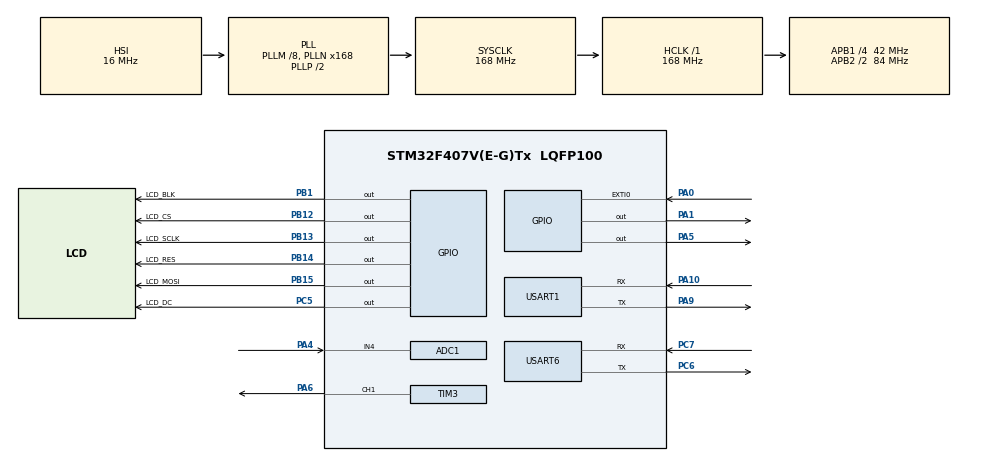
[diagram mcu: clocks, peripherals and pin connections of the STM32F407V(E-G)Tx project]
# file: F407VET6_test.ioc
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ADC1.Channel-0\#ChannelRegularConversion=ADC_CHANNEL_4
ADC1.NbrOfConversionFlag=1
ADC1.Rank-0\#ChannelRegularConversion=1
ADC1.SamplingTime-0\#ChannelRegularConversion=ADC_SAMPLETIME_3CYCLES
ADC1.master=1
Mcu.Family=STM32F4
Mcu.Name=STM32F407V(E-G)Tx
Mcu.Package=LQFP100
NVIC.ADC_IRQn=true\:0\:0\:false\:false\:true\:true\:true\:true
NVIC.EXTI0_IRQn=true\:1\:0\:true\:false\:true\:true\:true\:true
NVIC.PriorityGroup=NVIC_PRIORITYGROUP_4
NVIC.TIM6_DAC_IRQn=true\:0\:0\:false\:false\:true\:true\:true\:true
NVIC.TIM7_IRQn=true\:0\:0\:false\:false\:true\:true\:true\:true
NVIC.USART1_IRQn=true\:0\:0\:false\:false\:true\:true\:true\:true
PA0-WKUP.GPIO_ModeDefaultEXTI=GPIO_MODE_IT_RISING
PA0-WKUP.GPIO_PuPd=GPIO_PULLDOWN
PA0-WKUP.Signal=GPXTI0
PA1.Signal=GPIO_Output
PA10.Mode=Asynchronous
PA10.Signal=USART1_RX
PA13.Mode=Serial_Wire
PA13.Signal=SYS_JTMS-SWDIO
PA14.Mode=Serial_Wire
PA14.Signal=SYS_JTCK-SWCLK
PA4.Signal=ADCx_IN4
PA5.GPIO_PuPd=GPIO_PULLUP
PA5.Signal=GPIO_Output
PA6.Signal=S_TIM3_CH1
PA9.Mode=Asynchronous
PA9.Signal=USART1_TX
PB1.GPIO_Label=LCD_BLK
PB1.Signal=GPIO_Output
PB12.GPIO_Label=LCD_CS
PB12.Signal=GPIO_Output
PB13.GPIO_Label=LCD_SCLK
PB13.Signal=GPIO_Output
PB14.GPIO_Label=LCD_RES
PB14.Signal=GPIO_Output
PB15.GPIO_Label=LCD_MOSI
PB15.Signal=GPIO_Output
PC14-OSC32_IN.Mode=LSE-External-Clock-Source
PC14-OSC32_IN.Signal=RCC_OSC32_IN
PC15-OSC32_OUT.Mode=LSE-External-Clock-Source
PC15-OSC32_OUT.Signal=RCC_OSC32_OUT
PC5.GPIO_Label=LCD_DC
PC5.Signal=GPIO_Output
PC6.Mode=Asynchronous
PC6.Signal=USART6_TX
PC7.Mode=Asynchronous
PC7.Signal=USART6_RX
PH0-OSC_IN.Mode=HSE-External-Clock-Source
PH0-OSC_IN.Signal=RCC_OSC_IN
PH1-OSC_OUT.Mode=HSE-External-Clock-Source
PH1-OSC_OUT.Signal=RCC_OSC_OUT
ProjectManager.HeapSize=0x200
ProjectManager.StackSize=0x400
ProjectManager.TargetToolchain=STM32CubeIDE
RCC.48MHZClocksFreq_Value=84000000
RCC.AHBFreq_Value=168000000
RCC.APB1CLKDivider=RCC_HCLK_DIV4
RCC.APB1Freq_Value=42000000
RCC.APB1TimFreq_Value=84000000
RCC.APB2CLKDivider=RCC_HCLK_DIV2
RCC.APB2Freq_Value=84000000
RCC.APB2TimFreq_Value=168000000
RCC.CortexFreq_Value=168000000
RCC.HCLKFreq_Value=168000000
RCC.HSE_VALUE=8000000
RCC.HSI_VALUE=16000000
RCC.LSE_VALUE=32768
RCC.PLLM=8
RCC.PLLN=168
RCC.SYSCLKFreq_VALUE=168000000
RCC.SYSCLKSource=RCC_SYSCLKSOURCE_PLLCLK
RCC.VCOOutputFreq_Value=336000000
SH.ADCx_IN4.0=ADC1_IN4,IN4
SH.S_TIM3_CH1.0=TIM3_CH1,PWM Generation1 CH1
TIM3.Channel-PWM\ Generation1\ CH1=TIM_CHANNEL_1
TIM3.Period=999
TIM3.Prescaler=167
TIM6.Period=4999
TIM6.Prescaler=16799
TIM7.Period=2499
TIM7.Prescaler=16799
USART1.VirtualMode=VM_ASYNC
USART6.VirtualMode=VM_ASYNC
VP_TIM6_VS_ClockSourceINT.Mode=Enable_Timer
VP_TIM7_VS_ClockSourceINT.Mode=Enable_Timer
board=custom

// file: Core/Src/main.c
/* USER CODE BEGIN Header */
/**
  ******************************************************************************
  * @file           : main.c
  * @brief          : Main program body
  ******************************************************************************
  * @attention
  *
  * Copyright (c) 2023 STMicroelectronics.
  * All rights reserved.
  *
  * This software is licensed under terms that can be found in the LICENSE file
  * in the root directory of this software component.
  * If no LICENSE file comes with this software, it is provided AS-IS.
  *
  ******************************************************************************
  */
/* USER CODE END Header */
#include "main.h"
#include "adc.h"
#include "tim.h"
#include "usart.h"
#include "gpio.h"

/* USER CODE BEGIN Includes */
#include "lcd_init.h"
#include "lcd.h"
#include "stdio.h"
/* USER CODE END Includes */

/* USER CODE BEGIN PTD */
unsigned int screen_num = 0;
unsigned int key_change_flag = 1;
unsigned int recive_flag = 0;
unsigned int pwm_lcd_flag = 0;
unsigned int pwm_freq = 0;
unsigned int pwm_duty = 0;
unsigned int student = 2021900372;
unsigned int engine_temp = 0;
unsigned int Alarm_flag =0;
uint16_t ADC_Value = 0;
uint8_t str[50] = {0};
float num2 = 12.13;
uint8_t  rx_dat1 = 0;
/* USER CODE END PTD */

/* USER CODE BEGIN PD */
void draw_lcd0(void);
void draw_lcd1(void);
void pwm_solve(void);
void adc_solve(void);
/* USER CODE END PD */

/* USER CODE BEGIN PM */
void draw_lcd0()
{
	if(screen_num == 0 && key_change_flag==1)
		{
	   LCD_Fill(0,0,128,160,WHITE);
		sprintf((char*)str,"USER INIRFACE:%d",1);
		LCD_ShowString(20,3,str,BLACK,WHITE,12,0);
		sprintf((char*)str,"level:%d",0);
		LCD_ShowString(3,15,str,BLACK,WHITE,12,0);
		sprintf((char*)str,"PWM freq:%dKhz",pwm_freq);
		LCD_ShowString(3,27,str,BLACK,WHITE,12,0);
		sprintf((char*)str,"PWM duty:%d%%",pwm_duty);
		LCD_ShowString(3,39,str,BLACK,WHITE,12,0);
		sprintf((char*)str,"num:%d",student);
		LCD_ShowString(3,51,str,BLACK,WHITE,12,0);
		LCD_ShowChinese(64,115,2,RED,GREEN,16);
		LCD_ShowChinese(80,115,3,RED,GREEN,16);
		LCD_ShowChinese(96,115,4,RED,GREEN,16);
		LCD_ShowChinese(112,115,5,RED,GREEN,16);
		key_change_flag=0;
		}
}

void draw_lcd1()
{
	if(screen_num == 1 && key_change_flag==1)
		{
		LCD_Fill(0,0,128,160,WHITE);
		sprintf((char*)str,"USER INIRFACE: %d",2);
		LCD_ShowString(20,3,str,BLACK,WHITE,12,0);
		sprintf((char*)str,"Engine temp: %d",engine_temp);
		LCD_ShowString(3,15,str,BLACK,WHITE,12,0);
		sprintf((char*)str,"Alarm threshold: %d",100);
		LCD_ShowString(3,27,str,BLACK,WHITE,12,0);
		sprintf((char*)str,"Alarm flag: NO");
		LCD_ShowString(3,39,str,BLACK,WHITE,12,0);
		sprintf((char*)str,"num:%d",student);
		LCD_ShowString(3,51,str,BLACK,WHITE,12,0);
		LCD_ShowChinese(64,115,2,RED,GREEN,16);
		LCD_ShowChinese(80,115,3,RED,GREEN,16);
		LCD_ShowChinese(96,115,4,RED,GREEN,16);
		LCD_ShowChinese(112,115,5,RED,GREEN,16);
		key_change_flag=0;
		}
}

void pwm_solve()
{
	if(rx_dat1 == 48 && recive_flag == 1)   //0
	{
		recive_flag=0;
		pwm_lcd_flag=1;
		pwm_freq = 0;
		pwm_duty = 0;
		__HAL_TIM_SET_AUTORELOAD(&htim3,499);
		__HAL_TIM_SET_COMPARE(&htim3,TIM_CHANNEL_1,0);
	}
	if(rx_dat1 == 49 && recive_flag == 1)   //1
	{
		recive_flag=0;
		pwm_lcd_flag=1;
		pwm_freq = 1;
		pwm_duty = 20;
		__HAL_TIM_SET_AUTORELOAD(&htim3,499);		 //1kHz
		__HAL_TIM_SET_COMPARE(&htim3,TIM_CHANNEL_1,99);		//20%
	}
	if(rx_dat1 == 50 && recive_flag == 1)   //2
	{
		recive_flag=0;
		pwm_lcd_flag=1;
		pwm_freq = 2;
		pwm_duty = 40;
		__HAL_TIM_SET_AUTORELOAD(&htim3,249);		 //2kHz
		__HAL_TIM_SET_COMPARE(&htim3,TIM_CHANNEL_1,99);		//40%
	}
	if(rx_dat1 == 51 && recive_flag == 1)   //3
	{
		recive_flag=0;
		pwm_lcd_flag=1;
		pwm_freq = 5;
		pwm_duty = 50;
		__HAL_TIM_SET_AUTORELOAD(&htim3,99);     //5kHz
		__HAL_TIM_SET_COMPARE(&htim3,TIM_CHANNEL_1,49);		//50%
	}
	if(rx_dat1 == 52 && recive_flag == 1)   //4
	{
		recive_flag=0;
		pwm_lcd_flag=1;
		pwm_freq = 10;
		pwm_duty = 80;
		__HAL_TIM_SET_AUTORELOAD(&htim3,49);     //10kHz
		__HAL_TIM_SET_COMPARE(&htim3,TIM_CHANNEL_1,39);		//80%
	}
	if(rx_dat1 == 53 && recive_flag == 1)   //5
	{
		recive_flag=0;
		pwm_lcd_flag=1;
		pwm_freq = 50;
		pwm_duty = 90;
		__HAL_TIM_SET_AUTORELOAD(&htim3,9);	 		 //50kHz
		__HAL_TIM_SET_COMPARE(&htim3,TIM_CHANNEL_1,9);		//90%
	}

		if (screen_num == 0 && pwm_lcd_flag == 1)
	{
		pwm_lcd_flag = 0;
		sprintf((char*)str,"level:%c       ",rx_dat1);
		LCD_ShowString(3, 15, str, BLACK, WHITE, 12, 0);
		sprintf((char*)str,"PWM freq:%dKHz    ",pwm_freq);
		LCD_ShowString(3,27,str,BLACK,WHITE,12,0);
		sprintf((char*)str,"PWM duty:%d%%     ",pwm_duty);
		LCD_ShowString(3,39,str,BLACK,WHITE,12,0);
	}
}

void adc_solve()
{
	HAL_ADC_Start(&hadc1);
	if(HAL_ADC_PollForConversion(&hadc1,10) == HAL_OK)
	{
		ADC_Value = HAL_ADC_GetValue(&hadc1);
		engine_temp =  (ADC_Value*140/4095)+20;

			if(engine_temp>100)
			{
				Alarm_flag =1;
				if(screen_num == 1)
				{
					sprintf((char*)str,"Engine temp:%d ",engine_temp);
					LCD_ShowString(3,15,str,BLACK,WHITE,12,0);
					sprintf((char*)str,"Alarm flag:YES");
					LCD_ShowString(3,39,str,BLACK,WHITE,12,0);
				}
			}
			if(engine_temp <= 100)
			{
				Alarm_flag =0;
				if(screen_num == 1)
				{
					sprintf((char*)str,"Engine temp:%d ",engine_temp);
					LCD_ShowString(3,15,str,BLACK,WHITE,12,0);
					sprintf((char*)str,"Alarm flag:NO ");
					LCD_ShowString(3,39,str,BLACK,WHITE,12,0);
				}
			}

	}
	HAL_ADC_Stop(&hadc1);
}

/* USER CODE END PM */

void SystemClock_Config(void);

/* USER CODE BEGIN 0 */
void HAL_ADC_ConvCpltCallback(ADC_HandleTypeDef *hadc)
{
	if(hadc->Instance == ADC1)
	{
	ADC_Value = HAL_ADC_GetValue(&hadc1);
	sprintf((char*)str,"Value: %d",ADC_Value);
	printf("%s\r\n",str);
	HAL_UART_Transmit(&huart1,str,sizeof(str),1000);
	}
}

void HAL_GPIO_EXTI_Callback(uint16_t GPIO_Pin)
{
	if(GPIO_Pin == GPIO_PIN_0)
	{
			screen_num=screen_num+1;
			key_change_flag = 1;
		  if(screen_num == 2)
        {
            screen_num=0;
        }
	}
}
void HAL_UART_RxCpltCallback(UART_HandleTypeDef *huart)
{
	if(huart->Instance == USART1)
	{
		recive_flag=1;
		HAL_UART_Receive_IT(&huart1,&rx_dat1,1);
	}

}
void HAL_TIM_PeriodElapsedCallback(TIM_HandleTypeDef *htim)
{
	if(htim->Instance == TIM6)
	{
		if(engine_temp >= 100)
		{
			HAL_GPIO_WritePin(GPIOA,GPIO_PIN_5,GPIO_PIN_RESET);
			printf("[%d]PWMFREQUENCE:%dKHz,duty:%d%%,Engine TEMP=%d,Alarm flag=yes\r\n",student,pwm_freq,pwm_duty,engine_temp);
		}
		if(engine_temp < 100)
		{
			HAL_GPIO_WritePin(GPIOA,GPIO_PIN_5,GPIO_PIN_SET);
			HAL_GPIO_WritePin(GPIOA,GPIO_PIN_1,GPIO_PIN_SET);
			printf("[%d]PWMFREQUENCE:%dKHz,duty:%d%%,Engine TEMP=%d,Alarm flag=no\r\n",student,pwm_freq,pwm_duty,engine_temp);
		}
	}
		if(htim->Instance == TIM7)
		{
			if(engine_temp >= 100)
			{
				HAL_GPIO_TogglePin(GPIOA,GPIO_PIN_1);
			}
		}
}

/* USER CODE END 0 */

int main(void)
{

  /* MCU Configuration--------------------------------------------------------*/

  /* Reset of all peripherals, Initializes the Flash interface and the Systick. */
  HAL_Init();

  /* Configure the system clock */
  SystemClock_Config();

  /* Initialize all configured peripherals */
  MX_GPIO_Init();
  MX_USART1_UART_Init();
  MX_ADC1_Init();
  MX_USART6_UART_Init();
  MX_TIM6_Init();
  MX_TIM3_Init();
  MX_TIM7_Init();
  /* USER CODE BEGIN 2 */
	LCD_Init();
	HAL_TIM_Base_Start_IT(&htim6);
	HAL_TIM_Base_Start_IT(&htim7);
	HAL_UART_Receive_IT(&huart1,&rx_dat1,1);
	HAL_TIM_PWM_Start(&htim3,TIM_CHANNEL_1);
	HAL_GPIO_WritePin(GPIOA,GPIO_PIN_5,GPIO_PIN_SET);
  /* USER CODE END 2 */

  /* Infinite loop */

  while (1)
  {

    /* USER CODE BEGIN 3 */
		draw_lcd0();
		draw_lcd1();
		pwm_solve();
		adc_solve();
  }
  /* USER CODE END 3 */
}

void SystemClock_Config(void)
{
  RCC_OscInitTypeDef RCC_OscInitStruct = {0};
  RCC_ClkInitTypeDef RCC_ClkInitStruct = {0};

  /** Configure the main internal regulator output voltage
  */
  __HAL_RCC_PWR_CLK_ENABLE();
  __HAL_PWR_VOLTAGESCALING_CONFIG(PWR_REGULATOR_VOLTAGE_SCALE1);

  /** Initializes the RCC Oscillators according to the specified parameters
  * in the RCC_OscInitTypeDef structure.
  */
  RCC_OscInitStruct.OscillatorType = RCC_OSCILLATORTYPE_HSI;
  RCC_OscInitStruct.HSIState = RCC_HSI_ON;
  RCC_OscInitStruct.HSICalibrationValue = RCC_HSICALIBRATION_DEFAULT;
  RCC_OscInitStruct.PLL.PLLState = RCC_PLL_ON;
  RCC_OscInitStruct.PLL.PLLSource = RCC_PLLSOURCE_HSI;
  RCC_OscInitStruct.PLL.PLLM = 8;
  RCC_OscInitStruct.PLL.PLLN = 168;
  RCC_OscInitStruct.PLL.PLLP = RCC_PLLP_DIV2;
  RCC_OscInitStruct.PLL.PLLQ = 4;
  if (HAL_RCC_OscConfig(&RCC_OscInitStruct) != HAL_OK)
  {
    Error_Handler();
  }

  /** Initializes the CPU, AHB and APB buses clocks
  */
  RCC_ClkInitStruct.ClockType = RCC_CLOCKTYPE_HCLK|RCC_CLOCKTYPE_SYSCLK
                              |RCC_CLOCKTYPE_PCLK1|RCC_CLOCKTYPE_PCLK2;
  RCC_ClkInitStruct.SYSCLKSource = RCC_SYSCLKSOURCE_PLLCLK;
  RCC_ClkInitStruct.AHBCLKDivider = RCC_SYSCLK_DIV1;
  RCC_ClkInitStruct.APB1CLKDivider = RCC_HCLK_DIV4;
  RCC_ClkInitStruct.APB2CLKDivider = RCC_HCLK_DIV2;

  if (HAL_RCC_ClockConfig(&RCC_ClkInitStruct, FLASH_LATENCY_5) != HAL_OK)
  {
    Error_Handler();
  }
}

void Error_Handler(void)
{
  __disable_irq();
  while (1)
  {
  }
}
